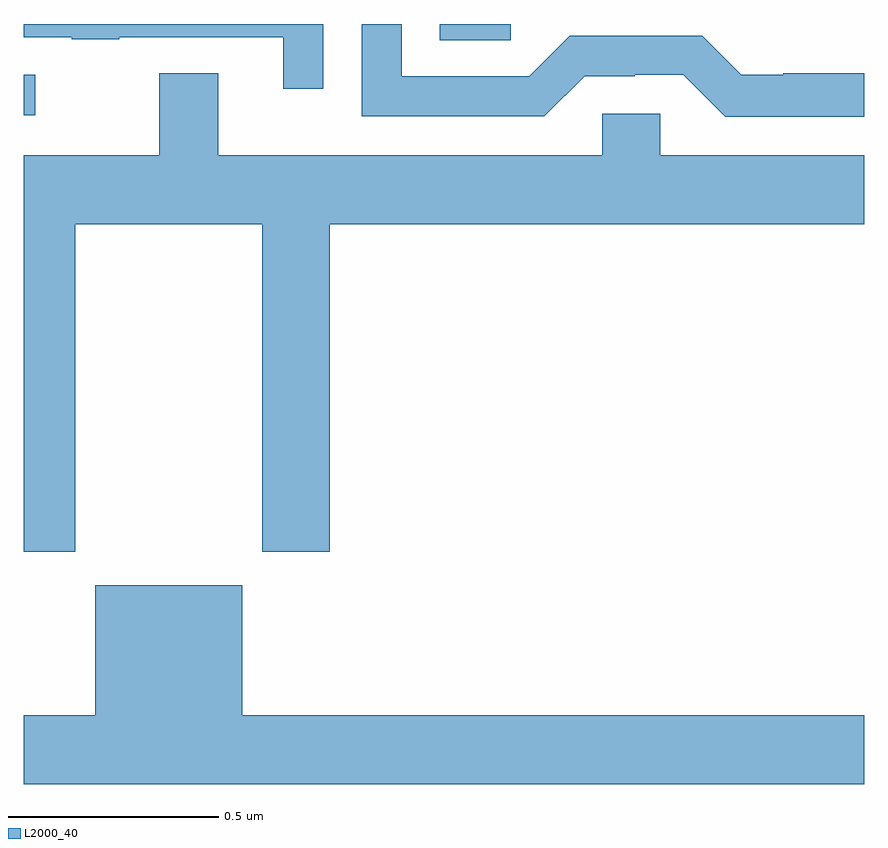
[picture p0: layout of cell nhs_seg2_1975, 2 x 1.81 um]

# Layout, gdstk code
import gdstk
lib = gdstk.Library(unit=1e-6, precision=1e-09)
def R(c, l, rs):  # rectangles x0, y0, x1, y1
    for r in rs: c.add(gdstk.rectangle(r[:2], r[2:], *l))
def P(c, l, *ps):  # polygons
    for p in ps: c.add(gdstk.Polygon(p, *l))
L2000_40 = (2000, 40)

nhs_seg2_1975 = lib.new_cell('nhs_seg2_1975')
R(nhs_seg2_1975, L2000_40, [(135,626.583,135.028,626.679), (135.99,626.761,136.159,626.8)])
P(nhs_seg2_1975, L2000_40, [(137,626.683),(136.807,626.683),(136.807,626.679),(136.707,626.679),(136.614,626.772),(136.299,626.772),(136.203,626.676),(135.9,626.676),(135.9,626.8),(135.804,626.8),(135.804,626.58),(136.239,626.58),(136.335,626.676),(136.454,626.676),(136.454,626.679),(136.569,626.679),(136.669,626.579),(137,626.579)],
  [(135.713,626.8),(135,626.8),(135,626.769),(135.115,626.769),(135.115,626.764),(135.227,626.764),(135.227,626.769),(135.617,626.769),(135.617,626.646),(135.713,626.646)],
  [(135.123,626.324),(135.568,626.324),(135.568,625.545),(135.728,625.545),(135.728,626.324),(137,626.324),(137,626.488),(136.515,626.488),(136.515,626.586),(136.377,626.586),(136.377,626.488),(135.463,626.488),(135.463,626.683),(135.323,626.683),(135.323,626.488),(135,626.488),(135,625.545),(135.123,625.545)],
  [(137,625.156),(135.52,625.156),(135.52,625.465),(135.17,625.465),(135.17,625.156),(135,625.156),(135,624.992),(137,624.992)])

lib.write_gds('nhs_seg2_1975.gds')
